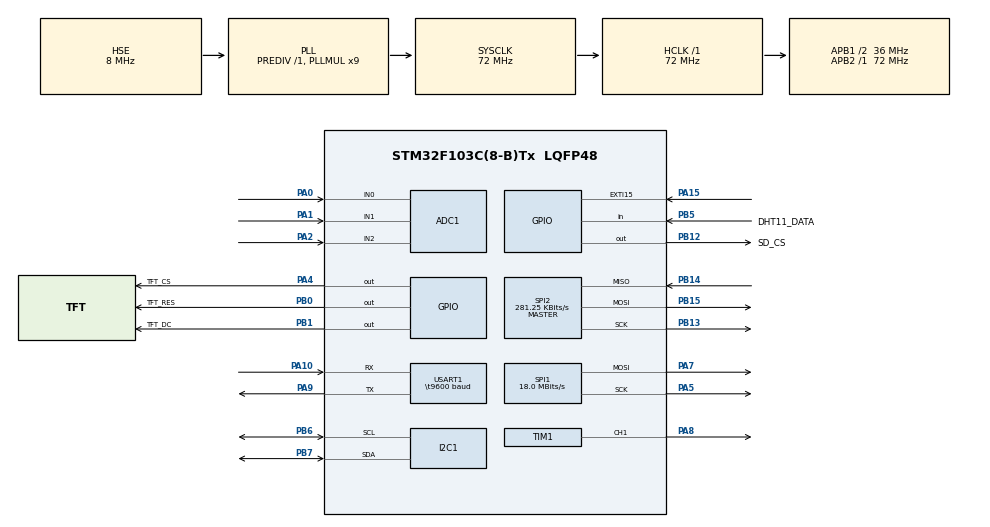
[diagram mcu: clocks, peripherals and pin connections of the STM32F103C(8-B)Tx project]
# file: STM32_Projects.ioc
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ADC1.Channel-0\#ChannelRegularConversion=ADC_CHANNEL_0
ADC1.Channel-1\#ChannelRegularConversion=ADC_CHANNEL_1
ADC1.Channel-2\#ChannelRegularConversion=ADC_CHANNEL_2
ADC1.ContinuousConvMode=ENABLE
ADC1.NbrOfConversion=3
ADC1.NbrOfConversionFlag=1
ADC1.Rank-0\#ChannelRegularConversion=1
ADC1.Rank-1\#ChannelRegularConversion=2
ADC1.Rank-2\#ChannelRegularConversion=3
ADC1.SamplingTime-0\#ChannelRegularConversion=ADC_SAMPLETIME_71CYCLES_5
ADC1.SamplingTime-1\#ChannelRegularConversion=ADC_SAMPLETIME_71CYCLES_5
ADC1.SamplingTime-2\#ChannelRegularConversion=ADC_SAMPLETIME_71CYCLES_5
ADC1.master=1
Dma.ADC1.1.Direction=DMA_PERIPH_TO_MEMORY
Dma.ADC1.1.Instance=DMA1_Channel1
Dma.ADC1.1.MemDataAlignment=DMA_MDATAALIGN_HALFWORD
Dma.ADC1.1.MemInc=DMA_MINC_ENABLE
Dma.ADC1.1.Mode=DMA_CIRCULAR
Dma.ADC1.1.PeriphDataAlignment=DMA_PDATAALIGN_HALFWORD
Dma.ADC1.1.PeriphInc=DMA_PINC_DISABLE
Dma.ADC1.1.Priority=DMA_PRIORITY_HIGH
Dma.Request0=USART1_RX
Dma.Request1=ADC1
Dma.Request2=SPI1_TX
Dma.SPI1_TX.2.Direction=DMA_MEMORY_TO_PERIPH
Dma.SPI1_TX.2.Instance=DMA1_Channel3
Dma.SPI1_TX.2.MemDataAlignment=DMA_MDATAALIGN_BYTE
Dma.SPI1_TX.2.MemInc=DMA_MINC_ENABLE
Dma.SPI1_TX.2.Mode=DMA_NORMAL
Dma.SPI1_TX.2.PeriphDataAlignment=DMA_PDATAALIGN_BYTE
Dma.SPI1_TX.2.PeriphInc=DMA_PINC_DISABLE
Dma.SPI1_TX.2.Priority=DMA_PRIORITY_HIGH
Dma.USART1_RX.0.Direction=DMA_PERIPH_TO_MEMORY
Dma.USART1_RX.0.Instance=DMA1_Channel5
Dma.USART1_RX.0.MemDataAlignment=DMA_MDATAALIGN_BYTE
Dma.USART1_RX.0.MemInc=DMA_MINC_ENABLE
Dma.USART1_RX.0.Mode=DMA_CIRCULAR
Dma.USART1_RX.0.PeriphDataAlignment=DMA_PDATAALIGN_BYTE
Dma.USART1_RX.0.PeriphInc=DMA_PINC_DISABLE
Dma.USART1_RX.0.Priority=DMA_PRIORITY_HIGH
FREERTOS.BinarySemaphores01=semGpsIdle,Dynamic,NULL,Depleted;semTftDma,Dynamic,NULL,Depleted
FREERTOS.Events01=evAlarm,Dynamic,NULL
FREERTOS.Mutexes01=mtxState,Dynamic,NULL,Available
FREERTOS.Queues01=qJoy,8,uint32_t,0,Dynamic,NULL,NULL;qLogEvent,16,uint32_t,0,Dynamic,NULL,NULL
FREERTOS.Tasks01=Task_IMU,32,256,StartTaskIMU,Default,NULL,Dynamic,NULL,NULL;Task_Alarm,40,256,StartTaskAlarm,Default,NULL,Dynamic,NULL,NULL;Task_GPS,24,256,StartTaskGPS,Default,NULL,Dynamic,NULL,NULL;Task_Sensor,16,256,StartTaskSensor,Default,NULL,Dynamic,NULL,NULL;Task_GUI,16,256,StartTaskGUI,Default,NULL,Dynamic,NULL,NULL;Task_Log,8,256,StartTaskLog,Default,NULL,Dynamic,NULL,NULL
FREERTOS.configTOTAL_HEAP_SIZE=10240
I2C1.I2C_Mode=I2C_Fast
Mcu.Family=STM32F1
Mcu.Name=STM32F103C(8-B)Tx
Mcu.Package=LQFP48
NVIC.DMA1_Channel1_IRQn=true\:6\:0\:true\:false\:true\:true\:false\:true\:true
NVIC.DMA1_Channel3_IRQn=true\:6\:0\:true\:false\:true\:true\:false\:true\:true
NVIC.DMA1_Channel5_IRQn=true\:6\:0\:true\:false\:true\:true\:false\:true\:true
NVIC.EXTI15_10_IRQn=true\:5\:0\:true\:false\:true\:true\:true\:true\:true
NVIC.PriorityGroup=NVIC_PRIORITYGROUP_4
NVIC.TIM4_IRQn=true\:15\:0\:false\:false\:true\:false\:false\:true\:true
NVIC.TimeBase=TIM4_IRQn
NVIC.TimeBaseIP=TIM4
NVIC.USART1_IRQn=true\:6\:0\:true\:false\:true\:true\:true\:true\:true
PA0-WKUP.Signal=ADCx_IN0
PA1.Signal=ADCx_IN1
PA10.Mode=Asynchronous
PA10.Signal=USART1_RX
PA13.Mode=Serial_Wire
PA13.Signal=SYS_JTMS-SWDIO
PA14.Mode=Serial_Wire
PA14.Signal=SYS_JTCK-SWCLK
PA15.GPIO_ModeDefaultEXTI=GPIO_MODE_IT_FALLING
PA15.GPIO_PuPd=GPIO_PULLUP
PA15.Signal=GPXTI15
PA2.Signal=ADCx_IN2
PA4.GPIO_Label=TFT_CS
PA4.GPIO_Speed=GPIO_SPEED_FREQ_HIGH
PA4.PinState=GPIO_PIN_SET
PA4.Signal=GPIO_Output
PA5.Mode=TX_Only_Simplex_Unidirect_Master
PA5.Signal=SPI1_SCK
PA7.Mode=TX_Only_Simplex_Unidirect_Master
PA7.Signal=SPI1_MOSI
PA8.Signal=S_TIM1_CH1
PA9.Mode=Asynchronous
PA9.Signal=USART1_TX
PB0.GPIO_Label=TFT_RES
PB0.GPIO_Speed=GPIO_SPEED_FREQ_HIGH
PB0.PinState=GPIO_PIN_SET
PB0.Signal=GPIO_Output
PB1.GPIO_Label=TFT_DC
PB1.GPIO_Speed=GPIO_SPEED_FREQ_HIGH
PB1.PinState=GPIO_PIN_SET
PB1.Signal=GPIO_Output
PB12.GPIO_Label=SD_CS
PB12.GPIO_Speed=GPIO_SPEED_FREQ_HIGH
PB12.PinState=GPIO_PIN_SET
PB12.Signal=GPIO_Output
PB13.Mode=Full_Duplex_Master
PB13.Signal=SPI2_SCK
PB14.Mode=Full_Duplex_Master
PB14.Signal=SPI2_MISO
PB15.Mode=Full_Duplex_Master
PB15.Signal=SPI2_MOSI
PB5.GPIO_Label=DHT11_DATA
PB5.Signal=GPIO_Input
PB6.Mode=I2C
PB6.Signal=I2C1_SCL
PB7.Mode=I2C
PB7.Signal=I2C1_SDA
PD0-OSC_IN.Mode=HSE-External-Oscillator
PD0-OSC_IN.Signal=RCC_OSC_IN
PD1-OSC_OUT.Mode=HSE-External-Oscillator
PD1-OSC_OUT.Signal=RCC_OSC_OUT
ProjectManager.HeapSize=0x200
ProjectManager.StackSize=0x400
ProjectManager.TargetToolchain=CMake
RCC.ADCPresc=RCC_ADCPCLK2_DIV6
RCC.AHBFreq_Value=72000000
RCC.APB1CLKDivider=RCC_HCLK_DIV2
RCC.APB1Freq_Value=36000000
RCC.APB1TimFreq_Value=72000000
RCC.APB2Freq_Value=72000000
RCC.APB2TimFreq_Value=72000000
RCC.HCLKFreq_Value=72000000
RCC.PLLMUL=RCC_PLL_MUL9
RCC.PLLSourceVirtual=RCC_PLLSOURCE_HSE
RCC.SYSCLKFreq_VALUE=72000000
RCC.SYSCLKSource=RCC_SYSCLKSOURCE_PLLCLK
RCC.USBFreq_Value=72000000
SH.ADCx_IN0.0=ADC1_IN0,IN0
SH.ADCx_IN1.0=ADC1_IN1,IN1
SH.ADCx_IN2.0=ADC1_IN2,IN2
SH.S_TIM1_CH1.0=TIM1_CH1,PWM Generation1 CH1
SPI1.BaudRatePrescaler=SPI_BAUDRATEPRESCALER_4
SPI1.CalculateBaudRate=18.0 MBits/s
SPI1.Direction=SPI_DIRECTION_2LINES
SPI1.Mode=SPI_MODE_MASTER
SPI1.VirtualType=VM_MASTER
SPI2.BaudRatePrescaler=SPI_BAUDRATEPRESCALER_128
SPI2.CalculateBaudRate=281.25 KBits/s
SPI2.Direction=SPI_DIRECTION_2LINES
SPI2.Mode=SPI_MODE_MASTER
SPI2.VirtualType=VM_MASTER
TIM1.Channel-PWM\ Generation1\ CH1=TIM_CHANNEL_1
TIM1.Period=499
TIM1.Prescaler=71
TIM1.Pulse-PWM\ Generation1\ CH1=250
USART1.BaudRate=\t9600
USART1.VirtualMode=VM_ASYNC
VP_FREERTOS_VS_CMSIS_V2.Mode=CMSIS_V2
VP_SYS_VS_tim4.Mode=TIM4
VP_TIM1_VS_ClockSourceINT.Mode=Internal
board=custom

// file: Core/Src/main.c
/* USER CODE BEGIN Header */
/**
  ******************************************************************************
  * @file           : main.c
  * @brief          : Main program body
  ******************************************************************************
  * @attention
  *
  * Copyright (c) 2026 STMicroelectronics.
  * All rights reserved.
  *
  * This software is licensed under terms that can be found in the LICENSE file
  * in the root directory of this software component.
  * If no LICENSE file comes with this software, it is provided AS-IS.
  *
  ******************************************************************************
  */
/* USER CODE END Header */
#include "main.h"
#include "cmsis_os.h"

/* USER CODE BEGIN Includes */
#include "task_alarm.h"
#include "gps.h"
#include "app_ipc.h"
#include "st7735.h"
#include "tft_ui.h"
#include "task_imu.h"
#include "task_sensor.h"
#include "task_sd.h"
/* USER CODE END Includes */

ADC_HandleTypeDef hadc1;
DMA_HandleTypeDef hdma_adc1;

I2C_HandleTypeDef hi2c1;

SPI_HandleTypeDef hspi1;
SPI_HandleTypeDef hspi2;
DMA_HandleTypeDef hdma_spi1_tx;

TIM_HandleTypeDef htim1;

UART_HandleTypeDef huart1;
DMA_HandleTypeDef hdma_usart1_rx;

/* Definitions for Task_IMU */
osThreadId_t Task_IMUHandle;
const osThreadAttr_t Task_IMU_attributes = {
  .name = "Task_IMU",
  .stack_size = 256 * 4,
  .priority = (osPriority_t) osPriorityAboveNormal,
};
/* Definitions for Task_Alarm */
osThreadId_t Task_AlarmHandle;
const osThreadAttr_t Task_Alarm_attributes = {
  .name = "Task_Alarm",
  .stack_size = 256 * 4,
  .priority = (osPriority_t) osPriorityHigh,
};
/* Definitions for Task_GPS */
osThreadId_t Task_GPSHandle;
const osThreadAttr_t Task_GPS_attributes = {
  .name = "Task_GPS",
  .stack_size = 256 * 4,
  .priority = (osPriority_t) osPriorityNormal,
};
/* Definitions for Task_Sensor */
osThreadId_t Task_SensorHandle;
const osThreadAttr_t Task_Sensor_attributes = {
  .name = "Task_Sensor",
  .stack_size = 256 * 4,
  .priority = (osPriority_t) osPriorityBelowNormal,
};
/* Definitions for Task_GUI */
osThreadId_t Task_GUIHandle;
const osThreadAttr_t Task_GUI_attributes = {
  .name = "Task_GUI",
  .stack_size = 256 * 4,
  .priority = (osPriority_t) osPriorityBelowNormal,
};
/* Definitions for Task_Log */
osThreadId_t Task_LogHandle;
const osThreadAttr_t Task_Log_attributes = {
  .name = "Task_Log",
  .stack_size = 256 * 4,
  .priority = (osPriority_t) osPriorityLow,
};
/* Definitions for qJoy */
osMessageQueueId_t qJoyHandle;
const osMessageQueueAttr_t qJoy_attributes = {
  .name = "qJoy"
};
/* Definitions for qLogEvent */
osMessageQueueId_t qLogEventHandle;
const osMessageQueueAttr_t qLogEvent_attributes = {
  .name = "qLogEvent"
};
/* Definitions for mtxState */
osMutexId_t mtxStateHandle;
const osMutexAttr_t mtxState_attributes = {
  .name = "mtxState"
};
/* Definitions for semGpsIdle */
osSemaphoreId_t semGpsIdleHandle;
const osSemaphoreAttr_t semGpsIdle_attributes = {
  .name = "semGpsIdle"
};
/* Definitions for semTftDma */
osSemaphoreId_t semTftDmaHandle;
const osSemaphoreAttr_t semTftDma_attributes = {
  .name = "semTftDma"
};
/* Definitions for evAlarm */
osEventFlagsId_t evAlarmHandle;
const osEventFlagsAttr_t evAlarm_attributes = {
  .name = "evAlarm"
};
/* USER CODE BEGIN PV */
volatile uint8_t estop_pending = 0;
SystemState g_systemState = {0};
/* USER CODE END PV */

void SystemClock_Config(void);
static void MX_GPIO_Init(void);
static void MX_DMA_Init(void);
static void MX_USART1_UART_Init(void);
static void MX_SPI2_Init(void);
static void MX_ADC1_Init(void);
static void MX_I2C1_Init(void);
static void MX_SPI1_Init(void);
static void MX_TIM1_Init(void);
void StartTaskIMU(void *argument);
void StartTaskAlarm(void *argument);
void StartTaskGPS(void *argument);
void StartTaskSensor(void *argument);
void StartTaskGUI(void *argument);
void StartTaskLog(void *argument);

int main(void)
{

  /* MCU Configuration--------------------------------------------------------*/

  /* Reset of all peripherals, Initializes the Flash interface and the Systick. */
  HAL_Init();

  /* Configure the system clock */
  SystemClock_Config();

  /* Initialize all configured peripherals */
  MX_GPIO_Init();
  MX_DMA_Init();
  MX_USART1_UART_Init();
  MX_SPI2_Init();
  MX_ADC1_Init();
  MX_I2C1_Init();
  MX_SPI1_Init();
  MX_TIM1_Init();

  /* Init scheduler */
  osKernelInitialize();
  /* Create the mutex(es) */
  /* creation of mtxState */
  mtxStateHandle = osMutexNew(&mtxState_attributes);

  /* Create the semaphores(s) */
  /* creation of semGpsIdle */
  semGpsIdleHandle = osSemaphoreNew(1, 0, &semGpsIdle_attributes);

  /* creation of semTftDma */
  semTftDmaHandle = osSemaphoreNew(1, 0, &semTftDma_attributes);

  /* Create the queue(s) */
  /* creation of qJoy */
  qJoyHandle = osMessageQueueNew (8, sizeof(uint32_t), &qJoy_attributes);

  /* creation of qLogEvent */
  qLogEventHandle = osMessageQueueNew (16, sizeof(uint32_t), &qLogEvent_attributes);

  /* Create the thread(s) */
  /* creation of Task_IMU */
  Task_IMUHandle = osThreadNew(StartTaskIMU, NULL, &Task_IMU_attributes);

  /* creation of Task_Alarm */
  Task_AlarmHandle = osThreadNew(StartTaskAlarm, NULL, &Task_Alarm_attributes);

  /* creation of Task_GPS */
  Task_GPSHandle = osThreadNew(StartTaskGPS, NULL, &Task_GPS_attributes);

  /* creation of Task_Sensor */
  Task_SensorHandle = osThreadNew(StartTaskSensor, NULL, &Task_Sensor_attributes);

  /* creation of Task_GUI */
  Task_GUIHandle = osThreadNew(StartTaskGUI, NULL, &Task_GUI_attributes);

  /* creation of Task_Log */
  Task_LogHandle = osThreadNew(StartTaskLog, NULL, &Task_Log_attributes);

  /* creation of evAlarm */
  evAlarmHandle = osEventFlagsNew(&evAlarm_attributes);

  /* Start scheduler */
  osKernelStart();

  /* We should never get here as control is now taken by the scheduler */

  /* Infinite loop */
  while (1)
  {

  }
}

void SystemClock_Config(void)
{
  RCC_OscInitTypeDef RCC_OscInitStruct = {0};
  RCC_ClkInitTypeDef RCC_ClkInitStruct = {0};
  RCC_PeriphCLKInitTypeDef PeriphClkInit = {0};

  /** Initializes the RCC Oscillators according to the specified parameters
  * in the RCC_OscInitTypeDef structure.
  */
  RCC_OscInitStruct.OscillatorType = RCC_OSCILLATORTYPE_HSE;
  RCC_OscInitStruct.HSEState = RCC_HSE_ON;
  RCC_OscInitStruct.HSEPredivValue = RCC_HSE_PREDIV_DIV1;
  RCC_OscInitStruct.HSIState = RCC_HSI_ON;
  RCC_OscInitStruct.PLL.PLLState = RCC_PLL_ON;
  RCC_OscInitStruct.PLL.PLLSource = RCC_PLLSOURCE_HSE;
  RCC_OscInitStruct.PLL.PLLMUL = RCC_PLL_MUL9;
  if (HAL_RCC_OscConfig(&RCC_OscInitStruct) != HAL_OK)
  {
    Error_Handler();
  }

  /** Initializes the CPU, AHB and APB buses clocks
  */
  RCC_ClkInitStruct.ClockType = RCC_CLOCKTYPE_HCLK|RCC_CLOCKTYPE_SYSCLK
                              |RCC_CLOCKTYPE_PCLK1|RCC_CLOCKTYPE_PCLK2;
  RCC_ClkInitStruct.SYSCLKSource = RCC_SYSCLKSOURCE_PLLCLK;
  RCC_ClkInitStruct.AHBCLKDivider = RCC_SYSCLK_DIV1;
  RCC_ClkInitStruct.APB1CLKDivider = RCC_HCLK_DIV2;
  RCC_ClkInitStruct.APB2CLKDivider = RCC_HCLK_DIV1;

  if (HAL_RCC_ClockConfig(&RCC_ClkInitStruct, FLASH_LATENCY_2) != HAL_OK)
  {
    Error_Handler();
  }
  PeriphClkInit.PeriphClockSelection = RCC_PERIPHCLK_ADC;
  PeriphClkInit.AdcClockSelection = RCC_ADCPCLK2_DIV6;
  if (HAL_RCCEx_PeriphCLKConfig(&PeriphClkInit) != HAL_OK)
  {
    Error_Handler();
  }
}

static void MX_ADC1_Init(void)
{

  ADC_ChannelConfTypeDef sConfig = {0};

  /** Common config
  */
  hadc1.Instance = ADC1;
  hadc1.Init.ScanConvMode = ADC_SCAN_ENABLE;
  hadc1.Init.ContinuousConvMode = ENABLE;
  hadc1.Init.DiscontinuousConvMode = DISABLE;
  hadc1.Init.ExternalTrigConv = ADC_SOFTWARE_START;
  hadc1.Init.DataAlign = ADC_DATAALIGN_RIGHT;
  hadc1.Init.NbrOfConversion = 3;
  if (HAL_ADC_Init(&hadc1) != HAL_OK)
  {
    Error_Handler();
  }

  /** Configure Regular Channel
  */
  sConfig.Channel = ADC_CHANNEL_0;
  sConfig.Rank = ADC_REGULAR_RANK_1;
  sConfig.SamplingTime = ADC_SAMPLETIME_71CYCLES_5;
  if (HAL_ADC_ConfigChannel(&hadc1, &sConfig) != HAL_OK)
  {
    Error_Handler();
  }

  /** Configure Regular Channel
  */
  sConfig.Channel = ADC_CHANNEL_1;
  sConfig.Rank = ADC_REGULAR_RANK_2;
  if (HAL_ADC_ConfigChannel(&hadc1, &sConfig) != HAL_OK)
  {
    Error_Handler();
  }

  /** Configure Regular Channel
  */
  sConfig.Channel = ADC_CHANNEL_2;
  sConfig.Rank = ADC_REGULAR_RANK_3;
  if (HAL_ADC_ConfigChannel(&hadc1, &sConfig) != HAL_OK)
  {
    Error_Handler();
  }

}

static void MX_I2C1_Init(void)
{

  hi2c1.Instance = I2C1;
  hi2c1.Init.ClockSpeed = 400000;
  hi2c1.Init.DutyCycle = I2C_DUTYCYCLE_2;
  hi2c1.Init.OwnAddress1 = 0;
  hi2c1.Init.AddressingMode = I2C_ADDRESSINGMODE_7BIT;
  hi2c1.Init.DualAddressMode = I2C_DUALADDRESS_DISABLE;
  hi2c1.Init.OwnAddress2 = 0;
  hi2c1.Init.GeneralCallMode = I2C_GENERALCALL_DISABLE;
  hi2c1.Init.NoStretchMode = I2C_NOSTRETCH_DISABLE;
  if (HAL_I2C_Init(&hi2c1) != HAL_OK)
  {
    Error_Handler();
  }

}

static void MX_SPI1_Init(void)
{

  /* SPI1 parameter configuration*/
  hspi1.Instance = SPI1;
  hspi1.Init.Mode = SPI_MODE_MASTER;
  hspi1.Init.Direction = SPI_DIRECTION_2LINES;
  hspi1.Init.DataSize = SPI_DATASIZE_8BIT;
  hspi1.Init.CLKPolarity = SPI_POLARITY_LOW;
  hspi1.Init.CLKPhase = SPI_PHASE_1EDGE;
  hspi1.Init.NSS = SPI_NSS_SOFT;
  hspi1.Init.BaudRatePrescaler = SPI_BAUDRATEPRESCALER_4;
  hspi1.Init.FirstBit = SPI_FIRSTBIT_MSB;
  hspi1.Init.TIMode = SPI_TIMODE_DISABLE;
  hspi1.Init.CRCCalculation = SPI_CRCCALCULATION_DISABLE;
  hspi1.Init.CRCPolynomial = 10;
  if (HAL_SPI_Init(&hspi1) != HAL_OK)
  {
    Error_Handler();
  }

}

static void MX_SPI2_Init(void)
{

  /* SPI2 parameter configuration*/
  hspi2.Instance = SPI2;
  hspi2.Init.Mode = SPI_MODE_MASTER;
  hspi2.Init.Direction = SPI_DIRECTION_2LINES;
  hspi2.Init.DataSize = SPI_DATASIZE_8BIT;
  hspi2.Init.CLKPolarity = SPI_POLARITY_LOW;
  hspi2.Init.CLKPhase = SPI_PHASE_1EDGE;
  hspi2.Init.NSS = SPI_NSS_SOFT;
  hspi2.Init.BaudRatePrescaler = SPI_BAUDRATEPRESCALER_128;
  hspi2.Init.FirstBit = SPI_FIRSTBIT_MSB;
  hspi2.Init.TIMode = SPI_TIMODE_DISABLE;
  hspi2.Init.CRCCalculation = SPI_CRCCALCULATION_DISABLE;
  hspi2.Init.CRCPolynomial = 10;
  if (HAL_SPI_Init(&hspi2) != HAL_OK)
  {
    Error_Handler();
  }

}

static void MX_TIM1_Init(void)
{

  TIM_ClockConfigTypeDef sClockSourceConfig = {0};
  TIM_MasterConfigTypeDef sMasterConfig = {0};
  TIM_OC_InitTypeDef sConfigOC = {0};
  TIM_BreakDeadTimeConfigTypeDef sBreakDeadTimeConfig = {0};

  htim1.Instance = TIM1;
  htim1.Init.Prescaler = 71;
  htim1.Init.CounterMode = TIM_COUNTERMODE_UP;
  htim1.Init.Period = 499;
  htim1.Init.ClockDivision = TIM_CLOCKDIVISION_DIV1;
  htim1.Init.RepetitionCounter = 0;
  htim1.Init.AutoReloadPreload = TIM_AUTORELOAD_PRELOAD_DISABLE;
  if (HAL_TIM_Base_Init(&htim1) != HAL_OK)
  {
    Error_Handler();
  }
  sClockSourceConfig.ClockSource = TIM_CLOCKSOURCE_INTERNAL;
  if (HAL_TIM_ConfigClockSource(&htim1, &sClockSourceConfig) != HAL_OK)
  {
    Error_Handler();
  }
  if (HAL_TIM_PWM_Init(&htim1) != HAL_OK)
  {
    Error_Handler();
  }
  sMasterConfig.MasterOutputTrigger = TIM_TRGO_RESET;
  sMasterConfig.MasterSlaveMode = TIM_MASTERSLAVEMODE_DISABLE;
  if (HAL_TIMEx_MasterConfigSynchronization(&htim1, &sMasterConfig) != HAL_OK)
  {
    Error_Handler();
  }
  sConfigOC.OCMode = TIM_OCMODE_PWM1;
  sConfigOC.Pulse = 250;
  sConfigOC.OCPolarity = TIM_OCPOLARITY_HIGH;
  sConfigOC.OCNPolarity = TIM_OCNPOLARITY_HIGH;
  sConfigOC.OCFastMode = TIM_OCFAST_DISABLE;
  sConfigOC.OCIdleState = TIM_OCIDLESTATE_RESET;
  sConfigOC.OCNIdleState = TIM_OCNIDLESTATE_RESET;
  if (HAL_TIM_PWM_ConfigChannel(&htim1, &sConfigOC, TIM_CHANNEL_1) != HAL_OK)
  {
    Error_Handler();
  }
  sBreakDeadTimeConfig.OffStateRunMode = TIM_OSSR_DISABLE;
  sBreakDeadTimeConfig.OffStateIDLEMode = TIM_OSSI_DISABLE;
  sBreakDeadTimeConfig.LockLevel = TIM_LOCKLEVEL_OFF;
  sBreakDeadTimeConfig.DeadTime = 0;
  sBreakDeadTimeConfig.BreakState = TIM_BREAK_DISABLE;
  sBreakDeadTimeConfig.BreakPolarity = TIM_BREAKPOLARITY_HIGH;
  sBreakDeadTimeConfig.AutomaticOutput = TIM_AUTOMATICOUTPUT_DISABLE;
  if (HAL_TIMEx_ConfigBreakDeadTime(&htim1, &sBreakDeadTimeConfig) != HAL_OK)
  {
    Error_Handler();
  }
  HAL_TIM_MspPostInit(&htim1);

}

static void MX_USART1_UART_Init(void)
{

  huart1.Instance = USART1;
  huart1.Init.BaudRate = 9600;
  huart1.Init.WordLength = UART_WORDLENGTH_8B;
  huart1.Init.StopBits = UART_STOPBITS_1;
  huart1.Init.Parity = UART_PARITY_NONE;
  huart1.Init.Mode = UART_MODE_TX_RX;
  huart1.Init.HwFlowCtl = UART_HWCONTROL_NONE;
  huart1.Init.OverSampling = UART_OVERSAMPLING_16;
  if (HAL_UART_Init(&huart1) != HAL_OK)
  {
    Error_Handler();
  }

}

static void MX_DMA_Init(void)
{

  /* DMA controller clock enable */
  __HAL_RCC_DMA1_CLK_ENABLE();

  /* DMA interrupt init */
  /* DMA1_Channel1_IRQn interrupt configuration */
  HAL_NVIC_SetPriority(DMA1_Channel1_IRQn, 6, 0);
  HAL_NVIC_EnableIRQ(DMA1_Channel1_IRQn);
  /* DMA1_Channel3_IRQn interrupt configuration */
  HAL_NVIC_SetPriority(DMA1_Channel3_IRQn, 6, 0);
  HAL_NVIC_EnableIRQ(DMA1_Channel3_IRQn);
  /* DMA1_Channel5_IRQn interrupt configuration */
  HAL_NVIC_SetPriority(DMA1_Channel5_IRQn, 6, 0);
  HAL_NVIC_EnableIRQ(DMA1_Channel5_IRQn);

}

static void MX_GPIO_Init(void)
{
  GPIO_InitTypeDef GPIO_InitStruct = {0};

  /* GPIO Ports Clock Enable */
  __HAL_RCC_GPIOD_CLK_ENABLE();
  __HAL_RCC_GPIOA_CLK_ENABLE();
  __HAL_RCC_GPIOB_CLK_ENABLE();

  /*Configure GPIO pin Output Level */
  HAL_GPIO_WritePin(TFT_CS_GPIO_Port, TFT_CS_Pin, GPIO_PIN_SET);

  /*Configure GPIO pin Output Level */
  HAL_GPIO_WritePin(GPIOB, TFT_RES_Pin|TFT_DC_Pin|SD_CS_Pin, GPIO_PIN_SET);

  /*Configure GPIO pin : TFT_CS_Pin */
  GPIO_InitStruct.Pin = TFT_CS_Pin;
  GPIO_InitStruct.Mode = GPIO_MODE_OUTPUT_PP;
  GPIO_InitStruct.Pull = GPIO_NOPULL;
  GPIO_InitStruct.Speed = GPIO_SPEED_FREQ_HIGH;
  HAL_GPIO_Init(TFT_CS_GPIO_Port, &GPIO_InitStruct);

  /*Configure GPIO pins : TFT_RES_Pin TFT_DC_Pin SD_CS_Pin */
  GPIO_InitStruct.Pin = TFT_RES_Pin|TFT_DC_Pin|SD_CS_Pin;
  GPIO_InitStruct.Mode = GPIO_MODE_OUTPUT_PP;
  GPIO_InitStruct.Pull = GPIO_NOPULL;
  GPIO_InitStruct.Speed = GPIO_SPEED_FREQ_HIGH;
  HAL_GPIO_Init(GPIOB, &GPIO_InitStruct);

  /*Configure GPIO pin : PA15 */
  GPIO_InitStruct.Pin = GPIO_PIN_15;
  GPIO_InitStruct.Mode = GPIO_MODE_IT_FALLING;
  GPIO_InitStruct.Pull = GPIO_PULLUP;
  HAL_GPIO_Init(GPIOA, &GPIO_InitStruct);

  /*Configure GPIO pin : DHT11_DATA_Pin */
  GPIO_InitStruct.Pin = DHT11_DATA_Pin;
  GPIO_InitStruct.Mode = GPIO_MODE_INPUT;
  GPIO_InitStruct.Pull = GPIO_NOPULL;
  HAL_GPIO_Init(DHT11_DATA_GPIO_Port, &GPIO_InitStruct);

  /* EXTI interrupt init*/
  HAL_NVIC_SetPriority(EXTI15_10_IRQn, 5, 0);
  HAL_NVIC_EnableIRQ(EXTI15_10_IRQn);

}

/* USER CODE BEGIN 4 */
void HAL_GPIO_EXTI_Callback(uint16_t GPIO_Pin)
{
    if (GPIO_Pin == GPIO_PIN_15)
    {
      estop_pending = 1;
    }
}
/* USER CODE END 4 */

void StartTaskIMU(void *argument)
{
  /* USER CODE BEGIN 5 */
    TaskIMU_Run();
  /* Infinite loop */
  for(;;)
  {
    osDelay(1);
  }
  /* USER CODE END 5 */
}

void StartTaskAlarm(void *argument)
{
    /* USER CODE BEGIN StartTaskAlarm */
    (void)argument;
    TaskAlarm_Run();
    /* USER CODE END StartTaskAlarm */
}
  /* USER CODE END StartTaskAlarm */

void StartTaskGPS(void *argument)
{
  /* USER CODE BEGIN StartTaskGPS */
  /* GPS_Init co the that bai tam thoi. GPS_Process tu thu lai moi 1 giay. */
  (void)GPS_Init();

  uint32_t lastGpsUiTick = 0U;

  for (;;)
  {
      /* Doc DMA va xu ly cac cau NMEA moi. */
      GPS_Process();

      /* Reset ban sao: khi DMA loi/khong co RMC thi khong giu fix cu. */
      GpsData_t currentGps = {0};
      bool hasRmc = GPS_GetData(&currentGps);

      if (mtxStateHandle != NULL &&
          osMutexAcquire(mtxStateHandle, 20U) == osOK)
      {
          g_systemState.gps = currentGps;
          g_systemState.gpsReady = hasRmc && currentGps.fix;
          (void)osMutexRelease(mtxStateHandle);
      }

      /* Cap nhat giao dien GPS sau khi da nha mutex chia se he thong. */
      uint32_t now = HAL_GetTick();
      if (hasRmc && (uint32_t)(now - lastGpsUiTick) >= 500U)
      {
          TFT_UI_UpdateGps(&currentGps);
          lastGpsUiTick = now;
      }

      osDelay(10U);
  }
  /* USER CODE END StartTaskGPS */
}

void StartTaskSensor(void *argument)
{
  /* USER CODE BEGIN StartTaskSensor */
   TaskSensor_Run();
  /* Infinite loop */
  for(;;)
  {
    osDelay(1);
  }
  /* USER CODE END StartTaskSensor */
}

void StartTaskGUI(void *argument)
{
  /* USER CODE BEGIN StartTaskGUI */
  TFT_UI_Run();
  /* USER CODE END StartTaskGUI */
}

void StartTaskLog(void *argument)
{
  /* USER CODE BEGIN StartTaskLog */

  Task_SD_Run(argument);

  /* USER CODE END StartTaskLog */
}

void HAL_TIM_PeriodElapsedCallback(TIM_HandleTypeDef *htim)
{
  if (htim->Instance == TIM4)
  {
    HAL_IncTick();
  }
}

void Error_Handler(void)
{
  __disable_irq();
  while (1)
  {
  }
}
